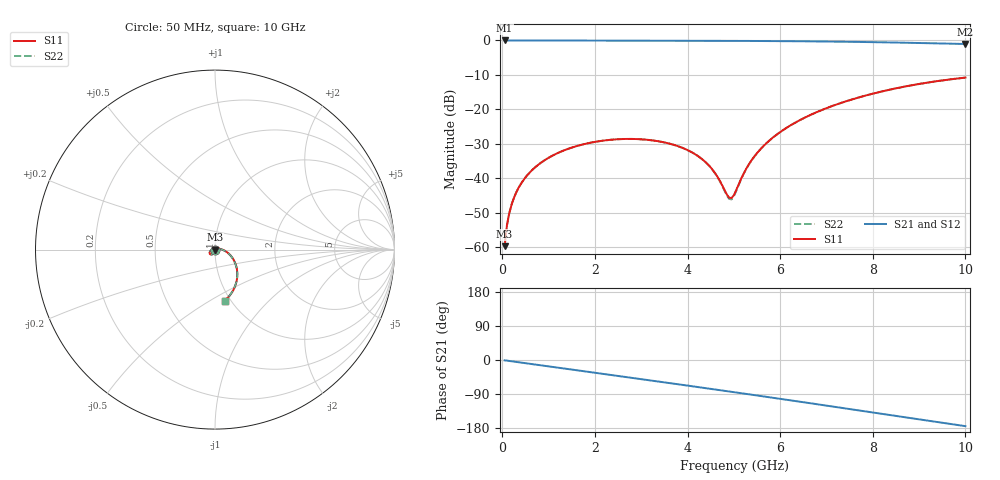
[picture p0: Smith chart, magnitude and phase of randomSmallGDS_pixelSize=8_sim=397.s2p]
! freq	dB(S11)	phase(S11)	dB(S12)	phase(S12)
!  dB(S21)	phase(S21)	dB(S22)	phase(S22)
!S-par simulation data
#  GHz  S  DB  R 50
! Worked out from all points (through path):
!   200 points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, 50 MHz to 10 GHz, reference 50 ohm
!   highest |S21| = 0.00 dB at 50 MHz (marker M1); lowest = -1.0 dB at 10 GHz (marker M2)
!   group delay of S21, straight-line fit = 48.5 ps
!   lowest |S11| = -59.7 dB at 50 MHz (marker M3), VSWR 1.00, Z = 50 - j0.104 ohm
!   |S11| at or under -10 dB: start of sweep to end of sweep
!   |S22| runs from -59.7 to -10.8 dB; largest |S21 - S12| = 0
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0.05  -59.66 -89.2  -0.00 -0.8  -0.00 -0.8  -59.66 -89.2
0.1  -53.64 -91.1  -0.00 -1.7  -0.00 -1.7  -53.64 -91.1
0.2  -47.63 -93.4  -0.00 -3.4  -0.00 -3.4  -47.63 -93.4
0.35  -42.78 -96.3  -0.01 -5.9  -0.01 -5.9  -42.78 -96.3
0.5  -39.73 -99.1  -0.01 -8.5  -0.01 -8.5  -39.73 -99.1
1  -34.02 -108.0  -0.02 -16.9  -0.02 -16.9  -34.02 -108.0
1.75  -30.12 -121.3  -0.04 -29.4  -0.04 -29.4  -30.12 -121.3
2.6  -28.59 -136.6  -0.05 -43.7  -0.05 -43.7  -28.59 -136.5
3.4  -29.30 -151.8  -0.07 -57.3  -0.07 -57.3  -29.30 -151.7
3.95  -31.48 -164.1  -0.09 -66.7  -0.09 -66.7  -31.49 -163.8
4.35  -34.82 -176.4  -0.10 -73.5  -0.10 -73.5  -34.83 -175.9
4.6  -38.58 169.7  -0.11 -77.9  -0.11 -77.9  -38.63 170.6
4.9  -45.61 111.3  -0.12 -83.1  -0.12 -83.1  -45.96 112.0
4.95  -45.70 91.2  -0.12 -83.9  -0.12 -83.9  -46.08 91.0
5.05  -43.43 57.3  -0.13 -85.7  -0.13 -85.7  -43.68 56.1
5.3  -36.46 23.2  -0.14 -90.1  -0.14 -90.1  -36.52 22.3
5.65  -30.48 6.8  -0.16 -96.2  -0.16 -96.2  -30.50 6.3
6.1  -25.66 -5.5  -0.20 -104.2  -0.20 -104.2  -25.67 -5.8
6.7  -21.32 -18.4  -0.26 -114.9  -0.26 -114.9  -21.32 -18.7
8.35  -14.32 -49.8  -0.56 -144.8  -0.56 -144.8  -14.32 -50.0
9.15  -12.29 -64.3  -0.78 -159.3  -0.78 -159.3  -12.29 -64.4
10  -10.77 -79.2  -1.03 -174.6  -1.03 -174.6  -10.77 -79.3
